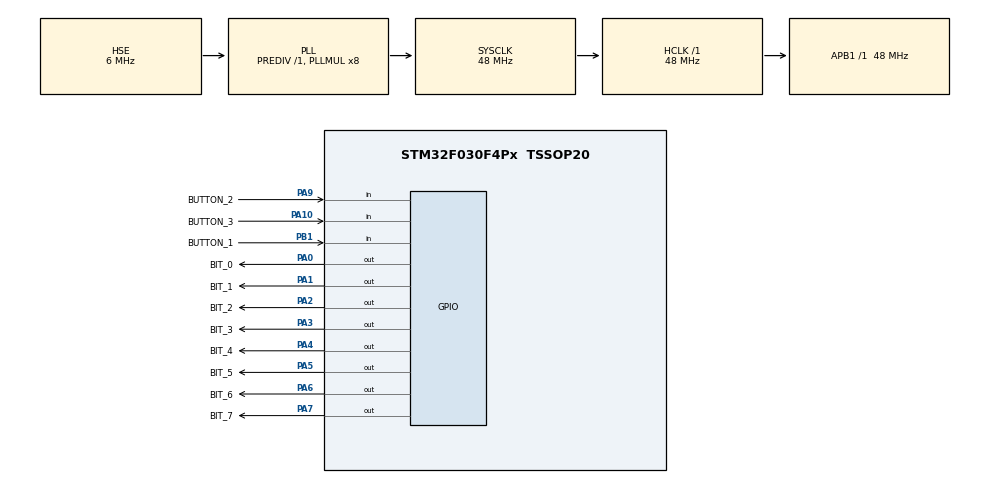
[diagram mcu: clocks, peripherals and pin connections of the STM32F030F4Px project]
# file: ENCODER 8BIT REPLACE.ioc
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Mcu.Family=STM32F0
Mcu.Name=STM32F030F4Px
Mcu.Package=TSSOP20
NVIC.TIM17_IRQn=true\:0\:0\:false\:false\:true\:true\:true
NVIC.TIM1_BRK_UP_TRG_COM_IRQn=true\:0\:0\:false\:false\:true\:true\:true
PA0.GPIO_Label=BIT_0
PA0.GPIO_Speed=GPIO_SPEED_FREQ_MEDIUM
PA0.Signal=GPIO_Output
PA1.GPIO_Label=BIT_1
PA1.GPIO_Speed=GPIO_SPEED_FREQ_MEDIUM
PA1.Signal=GPIO_Output
PA10.GPIO_Label=BUTTON_3
PA10.Signal=GPIO_Input
PA13.Mode=Serial_Wire
PA13.Signal=SYS_SWDIO
PA14.Mode=Serial_Wire
PA14.Signal=SYS_SWCLK
PA2.GPIO_Label=BIT_2
PA2.GPIO_Speed=GPIO_SPEED_FREQ_MEDIUM
PA2.Signal=GPIO_Output
PA3.GPIO_Label=BIT_3
PA3.GPIO_Speed=GPIO_SPEED_FREQ_MEDIUM
PA3.Signal=GPIO_Output
PA4.GPIO_Label=BIT_4
PA4.GPIO_Speed=GPIO_SPEED_FREQ_MEDIUM
PA4.Signal=GPIO_Output
PA5.GPIO_Label=BIT_5
PA5.GPIO_Speed=GPIO_SPEED_FREQ_MEDIUM
PA5.Signal=GPIO_Output
PA6.GPIO_Label=BIT_6
PA6.GPIO_Speed=GPIO_SPEED_FREQ_MEDIUM
PA6.Signal=GPIO_Output
PA7.GPIO_Label=BIT_7
PA7.GPIO_Speed=GPIO_SPEED_FREQ_MEDIUM
PA7.Signal=GPIO_Output
PA9.GPIO_Label=BUTTON_2
PA9.Signal=GPIO_Input
PB1.GPIO_Label=BUTTON_1
PB1.Signal=GPIO_Input
PF0-OSC_IN.Mode=HSE-External-Oscillator
PF0-OSC_IN.Signal=RCC_OSC_IN
PF1-OSC_OUT.Mode=HSE-External-Oscillator
PF1-OSC_OUT.Signal=RCC_OSC_OUT
ProjectManager.HeapSize=0x200
ProjectManager.StackSize=0x400
ProjectManager.TargetToolchain=MDK-ARM V5
RCC.AHBFreq_Value=48000000
RCC.APB1Freq_Value=48000000
RCC.APB1TimFreq_Value=48000000
RCC.HCLKFreq_Value=48000000
RCC.HSE_VALUE=6000000
RCC.PLLMUL=RCC_PLL_MUL8
RCC.PLLSourceVirtual=RCC_PLLSOURCE_HSE
RCC.SYSCLKFreq_VALUE=48000000
RCC.SYSCLKSource=RCC_SYSCLKSOURCE_PLLCLK
TIM1.Period=959
TIM1.Prescaler=49
TIM17.AutoReloadPreload=TIM_AUTORELOAD_PRELOAD_DISABLE
TIM17.Period=959
TIM17.Prescaler=49
VP_TIM17_VS_ClockSourceINT.Mode=Enable_Timer
VP_TIM1_VS_ClockSourceINT.Mode=Internal
board=custom

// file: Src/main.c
/* USER CODE BEGIN Header */
/**
  ******************************************************************************
  * @file           : main.c
  * @brief          : Main program body
  ******************************************************************************
  * @attention
  *
  * <h2><center>&copy; Copyright (c) 2019 STMicroelectronics.
  * All rights reserved.</center></h2>
  *
  * This software component is licensed by ST under BSD 3-Clause license,
  * the "License"; You may not use this file except in compliance with the
  * License. You may obtain a copy of the License at:
  *                        opensource.org/licenses/BSD-3-Clause
  *
  ******************************************************************************
  */
/* USER CODE END Header */

#include "main.h"

/* USER CODE BEGIN PD */
#define READ_BUT_1		HAL_GPIO_ReadPin(BUTTON_1_GPIO_Port, BUTTON_1_Pin)
#define READ_BUT_2		HAL_GPIO_ReadPin(BUTTON_2_GPIO_Port, BUTTON_2_Pin)
#define READ_BUT_3		HAL_GPIO_ReadPin(BUTTON_3_GPIO_Port, BUTTON_3_Pin)

#define ON 1
#define OFF 0

#define REFdebounce 200 // Buton debounce parameter in milisecond
/* USER CODE END PD */

TIM_HandleTypeDef htim1;
TIM_HandleTypeDef htim17;

/* USER CODE BEGIN PV */
uint16_t counter = 0;

volatile uint16_t in0 = 3;
volatile uint16_t in0_0 = 0;
volatile uint16_t in0_1 = 0;
volatile uint8_t state_of_in0;

volatile uint16_t in1 = 3;
volatile uint16_t in1_0 = 0;
volatile uint16_t in1_1 = 0;
volatile uint8_t state_of_in1;

volatile uint16_t in2 = 3;
volatile uint16_t in2_0 = 0;
volatile uint16_t in2_1 = 0;
volatile uint8_t state_of_in2;
/* USER CODE END PV */

void SystemClock_Config(void);
static void MX_GPIO_Init(void);
static void MX_TIM1_Init(void);
static void MX_TIM17_Init(void);
/* USER CODE BEGIN PFP */
void  HAL_TIM_PeriodElapsedCallback(TIM_HandleTypeDef *htim);
/* USER CODE END PFP */

int main(void)
{

  /* MCU Configuration--------------------------------------------------------*/

  /* Reset of all peripherals, Initializes the Flash interface and the Systick. */
  HAL_Init();

  /* Configure the system clock */
  SystemClock_Config();

  /* Initialize all configured peripherals */
  MX_GPIO_Init();
  MX_TIM1_Init();
  MX_TIM17_Init();
  /* USER CODE BEGIN 2 */
	GPIOA->BSRR = GPIO_PIN_All;

  while (1)
  {
		if (in0 == ON ){
			HAL_TIM_Base_Start_IT(&htim17);
		}
		else if ( in1 == ON ) {
			HAL_TIM_Base_Stop_IT(&htim17);
			GPIOA->BSRR = GPIO_PIN_All;
		}
//		else if ( counter > 255 ) {
//			counter = 0;
//			HAL_TIM_Base_Stop_IT(&htim17);
//			GPIOA->BSRR = GPIO_PIN_All;
//		}
		HAL_Delay(5);
  }
  /* USER CODE END 3 */
}

void  HAL_TIM_PeriodElapsedCallback(TIM_HandleTypeDef *htim){
	if (htim->Instance==TIM17) {
			++counter;
		if(counter <=255){
			GPIOA->BSRR = GPIO_PIN_All;
			GPIOA->BRR = counter;

		}
		else if (counter > 255){
			HAL_TIM_Base_Stop_IT(&htim17);
			counter = 0;
			GPIOA->BSRR = GPIO_PIN_All;
			GPIOA->BRR = counter;
		}
	}

}

void HAL_SYSTICK_Callback(){  // Need to have this code in the stm32f0xx_it.c  HAL_SYSTICK_IRQHandler();

	in0 = READ_BUT_1;
	in1 = READ_BUT_2;
	in2 = READ_BUT_3;
	////////////TEST Button 0 /////////////
	if(in0 == 0)
	{
		in0_0++;
		in0_1 = 0 ;
		if (in0_0 > REFdebounce)
		{
			in0_0 = REFdebounce + 1;
			state_of_in0 = 0;
		}
	}
	else if (in0 == 1)
	{
		in0_0 = 0;
		in0_1++;
		if (in0_1 > REFdebounce)
		{
			in0_1 = REFdebounce + 1;
			state_of_in0 = 1;
		}
	}
		////////////TEST Button 1 /////////////
	if(in1 == 0)
	{
		in1_0++;
		in1_1 = 0 ;
		if (in1_0 > REFdebounce)
		{
			in1_0 = REFdebounce + 1;
			state_of_in1 = 0;
		}
	}
	else if (in1 == 1)
	{
		in1_0 = 0;
		in1_1++;
		if (in1_1 > REFdebounce)
		{
			in1_1 = REFdebounce + 1;
			state_of_in1 = 1;
		}
	}
			////////////TEST Button 2 /////////////
	if(in2 == 0)
	{
		in2_0++;
		in2_1 = 0 ;
		if (in2_0 > REFdebounce)
		{
			in2_0 = REFdebounce + 1;
			state_of_in2 = 0;
		}
	}
	else if (in2 == 1)
	{
		in2_0 = 0;
		in2_1++;
		if (in2_1 > REFdebounce)
		{
			in2_1 = REFdebounce + 1;
			state_of_in2 = 1;
		}
	}

}

void SystemClock_Config(void)
{
  RCC_OscInitTypeDef RCC_OscInitStruct = {0};
  RCC_ClkInitTypeDef RCC_ClkInitStruct = {0};

  /** Initializes the CPU, AHB and APB busses clocks
  */
  RCC_OscInitStruct.OscillatorType = RCC_OSCILLATORTYPE_HSE;
  RCC_OscInitStruct.HSEState = RCC_HSE_ON;
  RCC_OscInitStruct.PLL.PLLState = RCC_PLL_ON;
  RCC_OscInitStruct.PLL.PLLSource = RCC_PLLSOURCE_HSE;
  RCC_OscInitStruct.PLL.PLLMUL = RCC_PLL_MUL8;
  RCC_OscInitStruct.PLL.PREDIV = RCC_PREDIV_DIV1;
  if (HAL_RCC_OscConfig(&RCC_OscInitStruct) != HAL_OK)
  {
    Error_Handler();
  }
  /** Initializes the CPU, AHB and APB busses clocks
  */
  RCC_ClkInitStruct.ClockType = RCC_CLOCKTYPE_HCLK|RCC_CLOCKTYPE_SYSCLK
                              |RCC_CLOCKTYPE_PCLK1;
  RCC_ClkInitStruct.SYSCLKSource = RCC_SYSCLKSOURCE_PLLCLK;
  RCC_ClkInitStruct.AHBCLKDivider = RCC_SYSCLK_DIV1;
  RCC_ClkInitStruct.APB1CLKDivider = RCC_HCLK_DIV1;

  if (HAL_RCC_ClockConfig(&RCC_ClkInitStruct, FLASH_LATENCY_1) != HAL_OK)
  {
    Error_Handler();
  }
}

static void MX_TIM1_Init(void)
{

  TIM_ClockConfigTypeDef sClockSourceConfig = {0};
  TIM_MasterConfigTypeDef sMasterConfig = {0};

  htim1.Instance = TIM1;
  htim1.Init.Prescaler = 49;
  htim1.Init.CounterMode = TIM_COUNTERMODE_UP;
  htim1.Init.Period = 959;
  htim1.Init.ClockDivision = TIM_CLOCKDIVISION_DIV1;
  htim1.Init.RepetitionCounter = 0;
  htim1.Init.AutoReloadPreload = TIM_AUTORELOAD_PRELOAD_DISABLE;
  if (HAL_TIM_Base_Init(&htim1) != HAL_OK)
  {
    Error_Handler();
  }
  sClockSourceConfig.ClockSource = TIM_CLOCKSOURCE_INTERNAL;
  if (HAL_TIM_ConfigClockSource(&htim1, &sClockSourceConfig) != HAL_OK)
  {
    Error_Handler();
  }
  sMasterConfig.MasterOutputTrigger = TIM_TRGO_RESET;
  sMasterConfig.MasterSlaveMode = TIM_MASTERSLAVEMODE_DISABLE;
  if (HAL_TIMEx_MasterConfigSynchronization(&htim1, &sMasterConfig) != HAL_OK)
  {
    Error_Handler();
  }

}

static void MX_TIM17_Init(void)
{

  htim17.Instance = TIM17;
  htim17.Init.Prescaler = 1000;
  htim17.Init.CounterMode = TIM_COUNTERMODE_UP;
  htim17.Init.Period = 2000;
  htim17.Init.ClockDivision = TIM_CLOCKDIVISION_DIV1;
  htim17.Init.RepetitionCounter = 0;
  htim17.Init.AutoReloadPreload = TIM_AUTORELOAD_PRELOAD_DISABLE;
  if (HAL_TIM_Base_Init(&htim17) != HAL_OK)
  {
    Error_Handler();
  }

}

static void MX_GPIO_Init(void)
{
  GPIO_InitTypeDef GPIO_InitStruct = {0};

  /* GPIO Ports Clock Enable */
  __HAL_RCC_GPIOF_CLK_ENABLE();
  __HAL_RCC_GPIOA_CLK_ENABLE();
  __HAL_RCC_GPIOB_CLK_ENABLE();

  /*Configure GPIO pin Output Level */
  HAL_GPIO_WritePin(GPIOA, BIT_0_Pin|BIT_1_Pin|BIT_2_Pin|BIT_3_Pin
                          |BIT_4_Pin|BIT_5_Pin|BIT_6_Pin|BIT_7_Pin, GPIO_PIN_RESET);

  /*Configure GPIO pins : BIT_0_Pin BIT_1_Pin BIT_2_Pin BIT_3_Pin
                           BIT_4_Pin BIT_5_Pin BIT_6_Pin BIT_7_Pin */
  GPIO_InitStruct.Pin = BIT_0_Pin|BIT_1_Pin|BIT_2_Pin|BIT_3_Pin
                          |BIT_4_Pin|BIT_5_Pin|BIT_6_Pin|BIT_7_Pin;
  GPIO_InitStruct.Mode = GPIO_MODE_OUTPUT_PP;
  GPIO_InitStruct.Pull = GPIO_NOPULL;
  GPIO_InitStruct.Speed = GPIO_SPEED_FREQ_MEDIUM;
  HAL_GPIO_Init(GPIOA, &GPIO_InitStruct);

  /*Configure GPIO pin : BUTTON_1_Pin */
  GPIO_InitStruct.Pin = BUTTON_1_Pin;
  GPIO_InitStruct.Mode = GPIO_MODE_INPUT;
  GPIO_InitStruct.Pull = GPIO_NOPULL;
  HAL_GPIO_Init(BUTTON_1_GPIO_Port, &GPIO_InitStruct);

  /*Configure GPIO pins : BUTTON_2_Pin BUTTON_3_Pin */
  GPIO_InitStruct.Pin = BUTTON_2_Pin|BUTTON_3_Pin;
  GPIO_InitStruct.Mode = GPIO_MODE_INPUT;
  GPIO_InitStruct.Pull = GPIO_NOPULL;
  HAL_GPIO_Init(GPIOA, &GPIO_InitStruct);

}

void Error_Handler(void)
{
}

/************************ (C) COPYRIGHT STMicroelectronics *****END OF FILE****/
